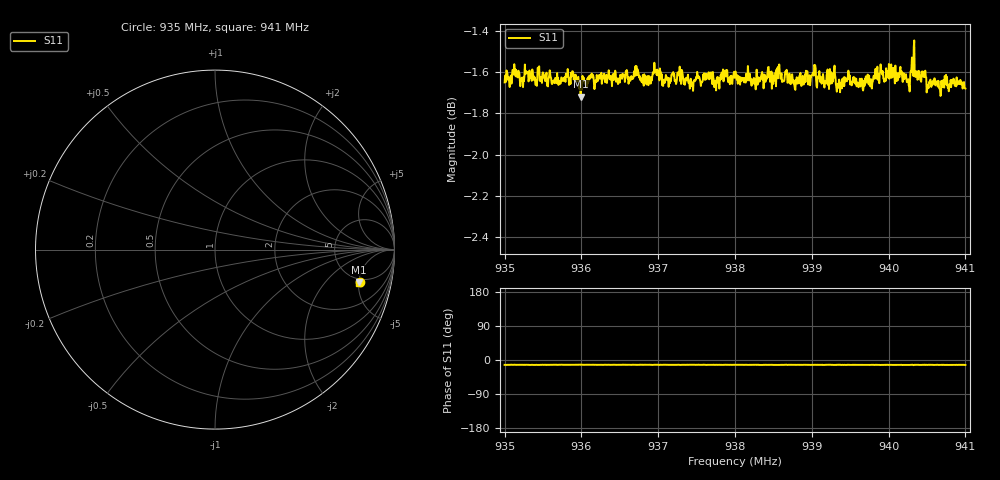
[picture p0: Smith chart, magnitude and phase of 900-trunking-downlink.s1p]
! Calibrated averaged scanner-service zoom
# Hz S RI R 50
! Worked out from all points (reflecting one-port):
!   1001 points, 935 MHz to 941 MHz, reference 50 ohm
!   lowest |S11| = -1.7 dB at 935.99 MHz (marker M1), VSWR 10.14, Z = 225 - j249 ohm
!   phase of S11 starts at -13 deg and turns -0 deg over the sweep
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9.35e8  0.8065 -0.1832
9.35126e8  0.8151 -0.1837
9.35342e8  0.8095 -0.1878
9.3575e8  0.8091 -0.1774
9.35876e8  0.8105 -0.1867
9.3599e8  0.8003 -0.1807
9.365e8  0.8066 -0.1826
9.36842e8  0.8075 -0.1818
9.36962e8  0.8121 -0.1832
9.3707e8  0.8082 -0.1807
9.3725e8  0.8117 -0.181
9.37424e8  0.8085 -0.182
9.38e8  0.8102 -0.1825
9.38246e8  0.8088 -0.1827
9.38342e8  0.8086 -0.1885
9.38576e8  0.8146 -0.1854
9.3875e8  0.8076 -0.1865
9.3902e8  0.8107 -0.1856
9.3914e8  0.8083 -0.1801
9.39218e8  0.8089 -0.1832
9.3929e8  0.8114 -0.1866
9.3935e8  0.8067 -0.1793
9.395e8  0.8053 -0.1843
9.40034e8  0.8146 -0.1852
9.4025e8  0.807 -0.1842
9.40316e8  0.8164 -0.1869
9.40526e8  0.8073 -0.1801
9.41e8  0.8027 -0.1871
